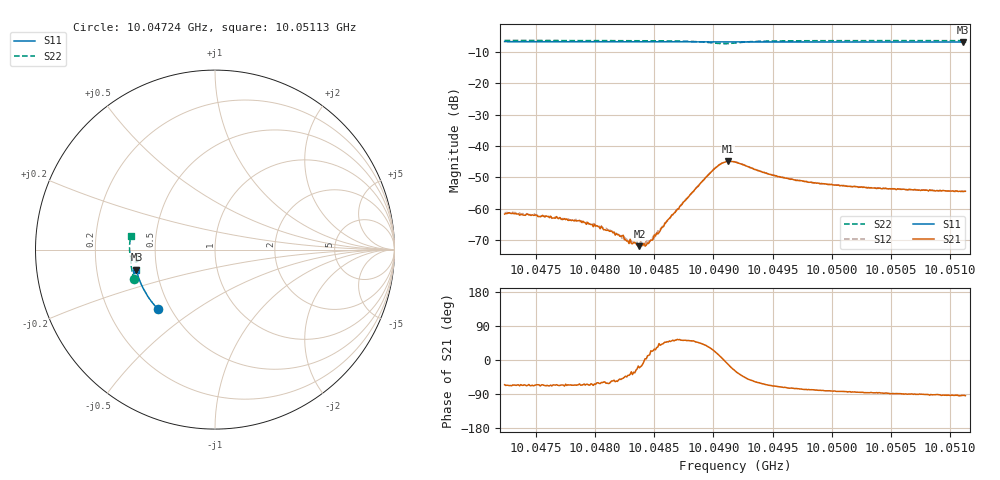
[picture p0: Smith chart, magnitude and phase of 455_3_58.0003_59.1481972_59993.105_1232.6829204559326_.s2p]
#  HZ  S  RI  R  50.00
! Rohde & Schwarz Vector Network Analyzer
! Rohde-Schwarz,ZNB20-2Port,1311601062101988,3.16
! Created: UTC 3/21/2024, 1:10:44 AM
! freq[Hz]  re:S11  im:S11  re:S21  im:S21  re:S12  im:S12  re:S22  im:S22
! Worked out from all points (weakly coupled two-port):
!   401 points, 10.04724 GHz to 10.05113 GHz, reference 50 ohm
!   highest |S21| = -44.88 dB at 10.04912 GHz (marker M1); lowest = -71.9 dB at 10.04838 GHz (marker M2)
!   lowest |S11| = -6.9 dB at 10.05111 GHz (marker M3), VSWR 2.65, Z = 19.1 - j5.41 ohm
!   |S11| at or under -10 dB: nowhere
!   |S22| runs from -7.4 to -6.4 dB; largest |S21 - S12| = 0.0004
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1.0047237e10  -0.3167 -0.3322  0.000344 -0.000746  0.0004 -0.000769  -0.4498 -0.166
1.004749e10  -0.3282 -0.3201  0.000308 -0.000723  0.000372 -0.000733  -0.455 -0.1495
1.0047889e10  -0.3453 -0.3002  0.000243 -0.000551  0.000298 -0.000563  -0.4619 -0.1226
1.0047996e10  -0.3496 -0.2946  0.000255 -0.000503  0.000294 -0.000484  -0.4634 -0.1152
1.0048142e10  -0.3557 -0.287  0.000251 -0.000362  0.000248 -0.000364  -0.4653 -0.1047
1.004822e10  -0.3587 -0.283  0.000226 -0.000283  0.000247 -0.000281  -0.4663 -0.0989
1.0048268e10  -0.3607 -0.2804  0.000217 -0.000215  0.000256 -0.000203  -0.4666 -0.0952
1.0048327e10  -0.363 -0.2772  0.000246 -0.000155  0.000247 -0.000141  -0.4673 -0.0906
1.0048375e10  -0.3648 -0.2746  0.000237 -8.86e-05  0.000263 -5.28e-05  -0.4674 -0.0868
1.0048424e10  -0.3666 -0.272  0.000253 1.48e-05  0.000274 1.99e-05  -0.4678 -0.083
1.0048463e10  -0.3682 -0.2699  0.000291 7.24e-05  0.000276 0.000116  -0.4679 -0.0797
1.0048541e10  -0.3709 -0.2655  0.000303 0.000285  0.000329 0.00028  -0.4678 -0.073
1.0048628e10  -0.3742 -0.2608  0.000454 0.000541  0.000398 0.000563  -0.4672 -0.0649
1.0048978e10  -0.3859 -0.2411  0.00329 0.00195  0.00318 0.00212  -0.4403 -0.0327
1.0049056e10  -0.3885 -0.2367  0.00501 0.000865  0.00497 0.00122  -0.4255 -0.04
1.0049124e10  -0.3905 -0.2332  0.00559 -0.0011  0.00564 -0.000768  -0.4232 -0.0561
1.0049183e10  -0.3924 -0.2298  0.00488 -0.00265  0.00504 -0.00237  -0.4322 -0.0659
1.0049494e10  -0.4022 -0.2119  0.00131 -0.00319  0.00152 -0.00315  -0.4683 -0.046
1.0049834e10  -0.4116 -0.1915  0.000519 -0.00254  0.000639 -0.00256  -0.475 -0.0164
1.0050486e10  -0.4269 -0.1517  5.67e-05 -0.00208  0.000192 -0.00208  -0.4752 0.0313
1.0051109e10  -0.4379 -0.1125  -0.000108 -0.00187  -2.3e-05 -0.00189  -0.4705 0.0735
1.0051128e10  -0.4384 -0.1113  -0.000133 -0.00189  -6.73e-05 -0.0019  -0.4703 0.0749
